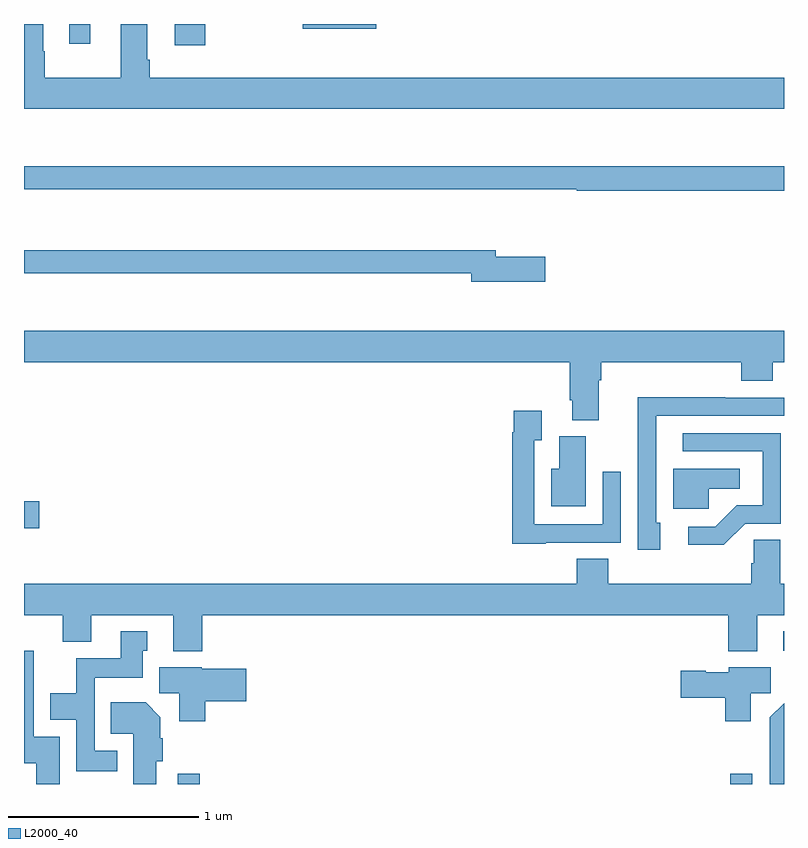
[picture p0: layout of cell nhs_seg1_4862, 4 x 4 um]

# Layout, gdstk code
import gdstk
lib = gdstk.Library(unit=1e-6, precision=1e-09)
def R(c, l, rs):  # rectangles x0, y0, x1, y1
    for r in rs: c.add(gdstk.rectangle(r[:2], r[2:], *l))
def P(c, l, *ps):  # polygons
    for p in ps: c.add(gdstk.Polygon(p, *l))
L2000_40 = (2000, 40)

nhs_seg1_4862 = lib.new_cell('nhs_seg1_4862')
R(nhs_seg1_4862, L2000_40, [(375.81,528.199,375.926,528.253), (378.718,528.199,378.834,528.253), (378.995,528.9,379,529.003), (375,529.546,375.079,529.688), (375.794,532.086,375.953,532.199), (375.239,532.095,375.349,532.199), (376.466,532.175,376.855,532.199)])
P(nhs_seg1_4862, L2000_40, [(379,531.916),(375.662,531.916),(375.662,532.012),(375.649,532.012),(375.649,532.199),(375.509,532.199),(375.509,531.916),(375.108,531.916),(375.108,532.055),(375.1,532.055),(375.1,532.199),(375,532.199),(375,531.752),(379,531.752)],
  [(379,531.451),(375,531.451),(375,531.33),(377.908,531.33),(377.908,531.322),(379,531.322)],
  [(377.743,530.973),(377.482,530.973),(377.482,531.007),(375,531.007),(375,530.886),(377.354,530.886),(377.354,530.843),(377.743,530.843)],
  [(378.025,530.324),(378.038,530.324),(378.038,530.42),(378.776,530.42),(378.776,530.321),(378.941,530.321),(378.941,530.42),(379,530.42),(379,530.584),(375,530.584),(375,530.42),(377.873,530.42),(377.873,530.218),(377.885,530.218),(377.885,530.113),(378.025,530.113)],
  [(378.349,529.575),(378.327,529.575),(378.327,530.136),(379,530.136),(379,530.232),(378.692,530.232),(378.692,530.234),(378.23,530.234),(378.23,529.93),(378.231,529.93),(378.231,529.431),(378.349,529.431)],
  [(377.745,529.47),(378.141,529.47),(378.141,529.843),(378.045,529.843),(378.045,529.566),(377.685,529.566),(377.685,530.008),(377.725,530.008),(377.725,530.164),(377.577,530.164),(377.577,530.051),(377.569,530.051),(377.569,529.463),(377.745,529.463)],
  [(378.795,529.569),(378.984,529.569),(378.984,530.046),(378.468,530.046),(378.468,529.95),(378.888,529.95),(378.888,529.665),(378.75,529.665),(378.639,529.554),(378.495,529.554),(378.495,529.457),(378.682,529.457)],
  [(377.956,530.028),(377.816,530.028),(377.816,529.858),(377.774,529.858),(377.774,529.661),(377.956,529.661)],
  [(378.603,529.754),(378.766,529.754),(378.766,529.858),(378.416,529.858),(378.416,529.647),(378.603,529.647)],
  [(375,529.088),(375.203,529.088),(375.203,528.947),(375.355,528.947),(375.355,529.088),(375.785,529.088),(375.785,528.899),(375.938,528.899),(375.938,529.088),(378.707,529.088),(378.707,528.899),(378.859,528.899),(378.859,529.088),(379,529.088),(379,529.252),(378.979,529.252),(378.979,529.484),(378.84,529.484),(378.84,529.361),(378.827,529.361),(378.827,529.252),(378.074,529.252),(378.074,529.385),(377.909,529.385),(377.909,529.252),(375,529.252)],
  [(375.49,528.375),(375.372,528.375),(375.372,528.758),(375.625,528.758),(375.625,528.9),(375.649,528.9),(375.649,529.003),(375.509,529.003),(375.509,528.862),(375.274,528.862),(375.274,528.676),(375.137,528.676),(375.137,528.536),(375.276,528.536),(375.276,528.267),(375.49,528.267)],
  [(375.187,528.448),(375.052,528.448),(375.052,528.901),(375,528.901),(375,528.309),(375.065,528.309),(375.065,528.199),(375.187,528.199)],
  [(378.826,528.676),(378.931,528.676),(378.931,528.814),(378.708,528.814),(378.708,528.787),(378.588,528.787),(378.588,528.795),(378.456,528.795),(378.456,528.653),(378.692,528.653),(378.692,528.528),(378.826,528.528)],
  [(375.953,528.635),(376.171,528.635),(376.171,528.805),(375.936,528.805),(375.936,528.814),(375.713,528.814),(375.713,528.676),(375.818,528.676),(375.818,528.528),(375.953,528.528)],
  [(375.697,528.318),(375.731,528.318),(375.731,528.44),(375.718,528.44),(375.718,528.55),(375.64,528.628),(375.457,528.628),(375.457,528.464),(375.575,528.464),(375.575,528.199),(375.697,528.199)],
  [(379,528.624),(378.926,528.55),(378.926,528.199),(379,528.199)])

lib.write_gds('nhs_seg1_4862.gds')
